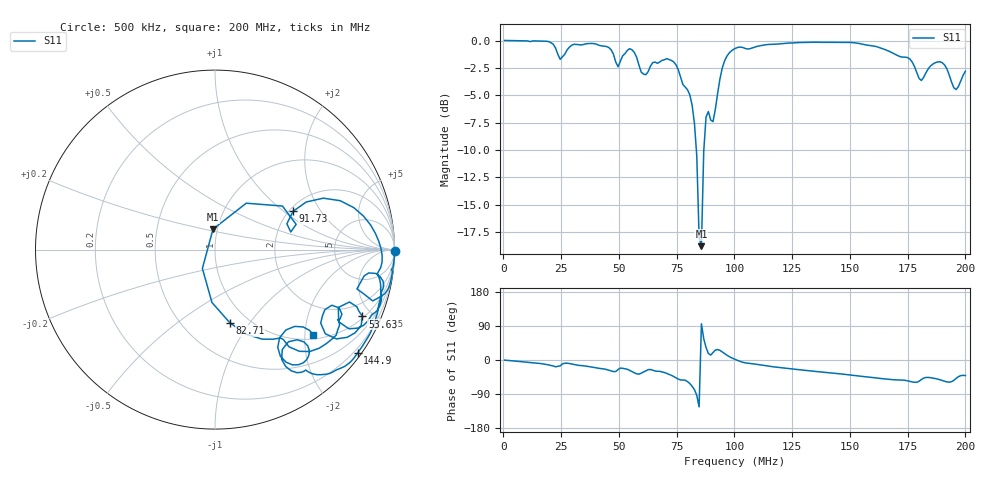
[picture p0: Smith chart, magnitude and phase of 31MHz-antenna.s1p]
# MHz S MA R 50
!  freq  S11
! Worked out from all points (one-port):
!   200 points, 500 kHz to 200 MHz, reference 50 ohm
!   lowest |S11| = -18.8 dB at 85.71 MHz (marker M1), VSWR 1.26, Z = 47.7 + j11 ohm
!   |S11| at or under -10 dB: 83.51 MHz to 86.76 MHz (3.248 MHz wide, 3.82 % of centre)
!   S11 on the Smith chart (normalised r, x): 500 kHz: open; 53.63 MHz: 1.10, -4.37; 82.71 MHz: 0.82, -0.81; 91.73 MHz: 2.10, +1.17; 144.9 MHz: 0.10, -3.08; 200 MHz: 1.11, -2.21
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0.5  1.001 -0.3
22.55528  0.924 -18.0
25.56281  0.8434 -10.0
30.57538  0.9613 -12.1
46.61558  0.9075 -28.8
50.62563  0.8042 -21.3
53.63317  0.9017 -24.4
57.64322  0.8396 -36.3
62.65578  0.7208 -25.5
70.67588  0.8265 -35.2
75.68844  0.7359 -50.3
82.70603  0.4162 -78.5
84.71106  0.1263 -123.8
85.71357  0.1147 95.5
86.71608  0.3117 56.0
87.71859  0.4473 32.9
89.72362  0.4332 13.1
91.72864  0.4844 26.1
94.73618  0.7488 21.3
100.7513  0.9246 0.4
125.8141  0.9763 -24.1
144.8618  0.982 -36.0
150.8769  0.9793 -40.1
175.9397  0.8235 -56.4
181.9548  0.6798 -47.6
189.9749  0.7919 -54.1
193.9849  0.647 -57.3
200  0.7239 -40.9
